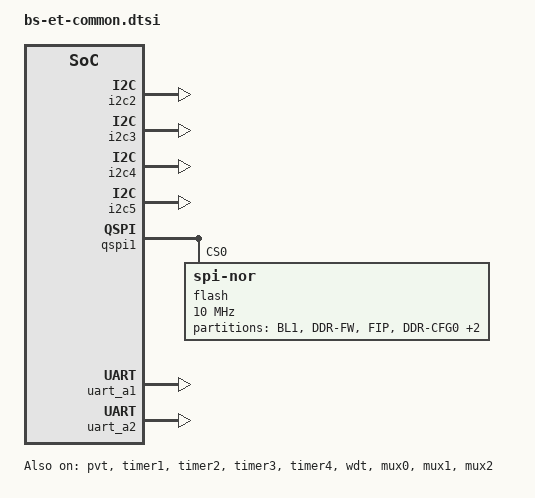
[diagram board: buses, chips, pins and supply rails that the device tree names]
/*
 * Devicetree data common to Elpitech [BS-] ET1x3 boards.
 */

&gpio32 {
	status = "okay";
};

&gpio16 {
	status = "okay";
};

&i2c2 {
	status = "okay";
};

&i2c3 {
	status = "okay";
};

&i2c4 {
	status = "okay";
};

&i2c5 {
	status = "okay";
};

&pvt {
	status = "okay";
};

&qspi1 {
	num-cs = <4>;
	status = "okay";

	flash@0 {
		compatible = "jedec,spi-nor";
		reg = <0>;
		spi-max-frequency = <10000000>;
		spi-tx-bus-width = <1>;
		spi-rx-bus-width = <1>;
		status = "okay";

		partitions {
			compatible = "fixed-partitions";
			#address-cells = <1>;
			#size-cells = <1>;

			partition@0 {
				label = "BL1";
				reg = <0x000000 0x20000>;
			};

			partition@20000 {
				label = "DDR-FW";
				reg = <0x020000 0x20000>;
			};

			partition@40000 {
				label = "FIP";
				reg = <0x040000 0x200000>;
			};

			partition@240000 {
				label = "DDR-CFG0";
				reg = <0x240000 0x40000>;
			};

			partition@280000 {
				label = "DDR-CFG1";
				reg = <0x280000 0x40000>;
			};

			partition@2c0000 {
				label = "UEFI vars";
				reg = <0x2c0000 0x40000>;
			};
		};
	};
};

&timer1 {
	status = "okay";
};

&timer2 {
	status = "okay";
};

&timer3 {
	status = "okay";
};

&timer4 {
	status = "okay";
};

&uart_a1 {
	status = "okay";
};

&uart_a2 {
	status = "okay";
};

&wdt {
	status = "okay";
};

&mux {
	compatible = "simple-bus";
	status = "okay";
	uart-smbus-enabled;
};

&mux0 {
	status = "okay";
};

&mux1 {
	status = "okay";
};

&mux2 {
	status = "okay";
};
